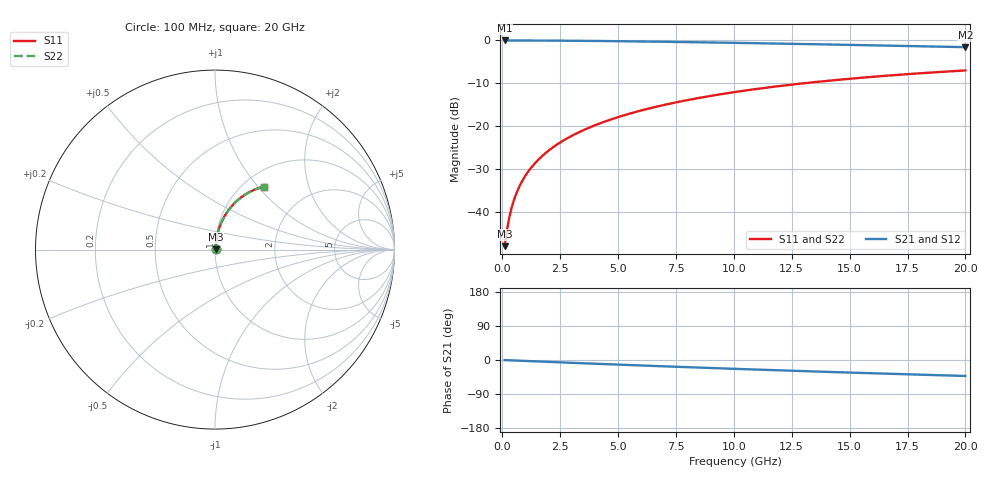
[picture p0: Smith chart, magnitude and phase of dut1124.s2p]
! Touchstone file exported from HFSS 2024.1.0
!  File:  C:/UserFiles/LocalFiles/RDL_TSV_Batchsim/temp_RDL_bottom_1124_1780054988.aedt
!  Generated:  07:45:33 PM May 29, 2026
!  Design:  RDL_bottom
!  Project:  temp_RDL_bottom_1124_1780054988
!  Setup:  Setup1
!  Solution:  Sweep
! Variables:
!  dtsv = 10.80580581um
!  hbump = 3um
!  htsv = 80.55um
!  ldown = 566.62um
!  lrdl = 100um
!  p = 40
!  p1 = 49.78um
!  rhole = 1um
!  t = 450um
!  tdown = 4.9um
!  trdl = 3.915915916um
!  wdown = 13.98um
!  wrdl = 20um
# GHz S MA R 50.000000
! Terminal data exported
! Port[1] = RDL1_T1
! Port[2] = RDL1_T2
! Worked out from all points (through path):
!   200 points, 100 MHz to 20 GHz, reference 50 ohm
!   highest |S21| = -0.03 dB at 100 MHz (marker M1); lowest = -1.6 dB at 20 GHz (marker M2)
!   group delay of S21, straight-line fit = 5.84 ps
!   lowest |S11| = -47.9 dB at 100 MHz (marker M3), VSWR 1.01, Z = 50.3 + j0.271 ohm
!   |S11| at or under -10 dB: start of sweep to 12.99 GHz
!   |S22| runs from -47.9 to -7.0 dB; largest |S21 - S12| = 4.1e-15
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0.1  0.004043 41.8  0.997 -0.3  0.997 -0.3  0.004043 41.8
! Gamma 0 0 0 0
! Port Impedance 50 0 50 0
0.2  0.006202 60.3  0.9969 -0.5  0.9969 -0.5  0.006202 60.3
0.3  0.008668 68.6  0.9968 -0.8  0.9968 -0.8  0.008668 68.6
0.4  0.01123 72.9  0.9966 -1.0  0.9966 -1.0  0.01123 73.0
0.5  0.01382 75.6  0.9965 -1.3  0.9965 -1.3  0.01382 75.6
0.6  0.01641 77.3  0.9963 -1.5  0.9963 -1.5  0.01642 77.3
0.8  0.0216 79.3  0.996 -2.0  0.996 -2.0  0.0216 79.3
1.1  0.02931 80.7  0.9955 -2.8  0.9955 -2.8  0.02932 80.7
1.5  0.03952 81.5  0.9946 -3.8  0.9946 -3.8  0.03953 81.5
1.8  0.04715 81.7  0.9937 -4.5  0.9937 -4.5  0.04716 81.7
2.1  0.05477 81.8  0.9927 -5.2  0.9927 -5.2  0.05478 81.8
2.7  0.06999 81.5  0.9904 -6.7  0.9904 -6.7  0.06999 81.5
3.5  0.09025 80.7  0.9866 -8.6  0.9866 -8.6  0.09025 80.7
4.2  0.1079 79.8  0.9826 -10.3  0.9826 -10.3  0.1079 79.8
5  0.128 78.6  0.9775 -12.2  0.9775 -12.2  0.128 78.6
5.9  0.1505 77.1  0.9711 -14.3  0.9711 -14.3  0.1505 77.1
6.8  0.1728 75.6  0.9641 -16.3  0.9641 -16.3  0.1727 75.5
8.3  0.2093 72.9  0.9514 -19.6  0.9514 -19.6  0.2092 72.9
10.1  0.2518 69.6  0.9349 -23.5  0.9349 -23.5  0.2517 69.6
13.4  0.3248 63.5  0.9022 -30.1  0.9022 -30.1  0.3247 63.4
16.7  0.3901 57.5  0.8678 -36.3  0.8678 -36.3  0.3899 57.5
20  0.4467 51.9  0.8334 -42.1  0.8334 -42.1  0.4465 51.9
